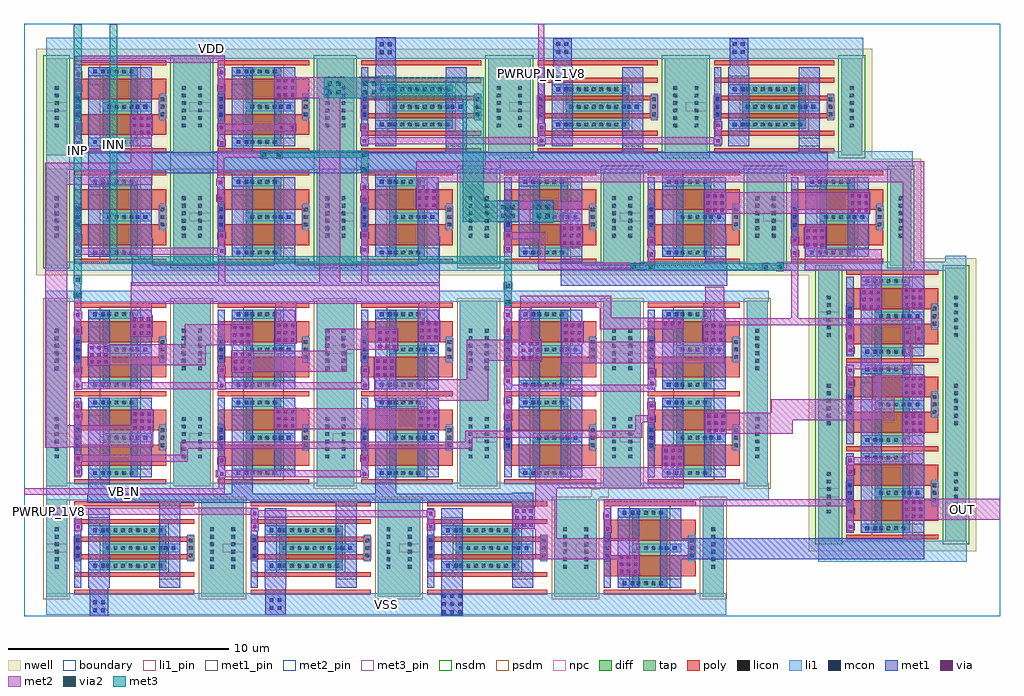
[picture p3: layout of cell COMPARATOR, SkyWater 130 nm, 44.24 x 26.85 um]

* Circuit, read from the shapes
.subckt COMPARATOR INN INP OUT PWRUP_1V8 PWRUP_N_1V8 VB_N VDD VSS
XM1 JNWATR_NCH_8C1F2_18/D PWRUP_1V8 VSS VSS sky130_fd_pr__nfet_01v8 w=2.88 l=0.22 m=6
XM2 JNWATR_NCH_4C5F0_7/D JNWATR_NCH_4C5F0_7/D JNWATR_NCH_8C1F2_18/D VSS sky130_fd_pr__nfet_01v8 w=1.6 l=0.94 m=2
XM3 JNWATR_NCH_4C5F0_22/D INP JNWATR_NCH_4C5F0_3/D VSS sky130_fd_pr__nfet_01v8 w=1.6 l=0.94 m=6
XM4 JNWATR_NCH_4C5F0_3/D VB_N JNWATR_NCH_8C1F2_18/D VSS sky130_fd_pr__nfet_01v8 w=1.6 l=0.94 m=4
XM5 JNWATR_NCH_4C5F0_15/D INN JNWATR_NCH_4C5F0_3/D VSS sky130_fd_pr__nfet_01v8 w=1.6 l=0.94 m=6
XM6 OUT JNWATR_NCH_4C5F0_20/D JNWATR_NCH_8C1F2_18/D VSS sky130_fd_pr__nfet_01v8 w=1.6 l=0.94 m=2
XM7 JNWATR_NCH_4C5F0_20/D JNWATR_NCH_4C5F0_7/D JNWATR_NCH_8C1F2_18/D VSS sky130_fd_pr__nfet_01v8 w=1.6 l=0.94 m=2
XM8 JNWATR_NCH_4C5F0_15/D JNWATR_NCH_4C5F0_22/D JNWATR_PCH_8C1F2_10/D VDD sky130_fd_pr__pfet_01v8 w=1.6 l=0.94 m=6
XM9 JNWATR_NCH_4C5F0_7/D JNWATR_NCH_4C5F0_22/D JNWATR_PCH_8C1F2_10/D VDD sky130_fd_pr__pfet_01v8 w=1.6 l=0.94 m=2
XM10 JNWATR_NCH_4C5F0_22/D JNWATR_NCH_4C5F0_22/D JNWATR_PCH_8C1F2_10/D VDD sky130_fd_pr__pfet_01v8 w=1.6 l=0.94 m=2
XM11 JNWATR_PCH_8C1F2_10/D PWRUP_N_1V8 VDD VDD sky130_fd_pr__pfet_01v8 w=2.88 l=0.22 m=6
XM12 JNWATR_NCH_4C5F0_22/D JNWATR_NCH_4C5F0_15/D JNWATR_PCH_8C1F2_10/D VDD sky130_fd_pr__pfet_01v8 w=1.6 l=0.94 m=6
XM13 OUT JNWATR_NCH_4C5F0_20/D JNWATR_PCH_8C1F2_10/D VDD sky130_fd_pr__pfet_01v8 w=1.6 l=0.94 m=2
XM14 JNWATR_NCH_4C5F0_20/D JNWATR_NCH_4C5F0_15/D JNWATR_PCH_8C1F2_10/D VDD sky130_fd_pr__pfet_01v8 w=1.6 l=0.94 m=2
XM15 JNWATR_NCH_4C5F0_15/D JNWATR_NCH_4C5F0_15/D JNWATR_PCH_8C1F2_10/D VDD sky130_fd_pr__pfet_01v8 w=1.6 l=0.94 m=2
.ends

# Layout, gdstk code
import gdstk
lib = gdstk.Library(unit=1e-6, precision=1e-09)
def R(c, l, rs):  # rectangles x0, y0, x1, y1
    for r in rs: c.add(gdstk.rectangle(r[:2], r[2:], *l))
def A(c, l, x, y, w, h, nx, ny, dx, dy):  # array of equal rectangles
    R(c, l, [(x+i*dx, y+j*dy, x+i*dx+w, y+j*dy+h) for i in range(nx) for j in range(ny)])
nwell = (64, 20)
diff = (65, 20)
tap = (65, 44)
poly = (66, 20)
licon = (66, 44)
li1_pin = (67, 16)
li1 = (67, 20)
mcon = (67, 44)
met1_pin = (68, 16)
met1 = (68, 20)
via = (68, 44)
met2_pin = (69, 16)
met2 = (69, 20)
via2 = (69, 44)
met3_pin = (70, 16)
met3 = (70, 20)
nsdm = (93, 44)
psdm = (94, 20)
npc = (95, 20)
boundary = (235, 4)

jnwatr_pch_4c5f0 = lib.new_cell('JNWATR_PCH_4C5F0')
R(jnwatr_pch_4c5f0, nwell, [(-0.92,-0.64,6.68,4.64)])
R(jnwatr_pch_4c5f0, diff, [(2.08,0.2,3.68,3.8)])
R(jnwatr_pch_4c5f0, tap, [(-0.48,-0.2,0.48,4.2), (5.28,-0.2,6.24,4.2)])
R(jnwatr_pch_4c5f0, poly, [(0.8,-0.11,4.96,0.11), (0.8,0.73,4.96,1.67), (0.8,1.67,1.12,2.33), (4.64,1.67,4.96,2.33), (0.8,2.33,4.96,3.27), (0.8,3.89,4.96,4.11)])
A(jnwatr_pch_4c5f0, licon, 2.285, 0.315, 0.17, 0.17, 4, 3, 0.34, 1.6)
A(jnwatr_pch_4c5f0, licon, -0.085, 1.065, 0.17, 0.17, 1, 6, 0, 0.34)
A(jnwatr_pch_4c5f0, licon, 5.675, 1.065, 0.17, 0.17, 1, 6, 0, 0.34)
A(jnwatr_pch_4c5f0, licon, 0.87, 1.575, 0.17, 0.17, 1, 3, 0, 0.34)
A(jnwatr_pch_4c5f0, licon, 4.71, 1.575, 0.17, 0.17, 1, 3, 0, 0.34)
R(jnwatr_pch_4c5f0, li1_pin, [(-0.48,1.8,0.48,2.2)])
R(jnwatr_pch_4c5f0, li1, [(-0.48,-0.2,0.48,4.2), (5.28,-0.2,6.24,4.2), (1.44,0.2,3.68,0.6), (0.8,1.4,1.12,2.6), (4.64,1.4,4.96,2.6), (2.08,1.8,4.32,2.2), (1.44,3.4,3.68,3.8)])
A(jnwatr_pch_4c5f0, mcon, 0.87, 1.555, 0.17, 0.17, 1, 3, 0, 0.36)
R(jnwatr_pch_4c5f0, mcon, [(1.655,0.315,1.825,0.485), (2.015,0.315,2.185,0.485), (3.575,1.915,3.745,2.085), (3.935,1.915,4.105,2.085), (1.655,3.515,1.825,3.685), (2.015,3.515,2.185,3.685)])
R(jnwatr_pch_4c5f0, met1_pin, [(3.36,0.2,4.32,0.6), (0.8,1.8,1.12,2.2), (1.44,3,2.4,3.4)])
R(jnwatr_pch_4c5f0, met1, [(0.8,0.2,1.12,3.8), (1.44,0.2,2.4,3.8), (3.36,0.2,4.32,3.8)])
R(jnwatr_pch_4c5f0, nsdm, [(-0.605,-0.325,0.605,4.325), (5.155,-0.325,6.365,4.325)])
R(jnwatr_pch_4c5f0, psdm, [(1.955,0.075,3.805,3.925)])
R(jnwatr_pch_4c5f0, npc, [(0.77,1.475,1.14,2.525), (4.61,1.475,4.98,2.525)])
R(jnwatr_pch_4c5f0, boundary, [(0,0,5.76,4)])
jnwatr_pch_4c5f0.add(gdstk.Label('B', (0,2), layer=67, texttype=5))
jnwatr_pch_4c5f0.add(gdstk.Label('G', (0.96,2), layer=68, texttype=5))
jnwatr_pch_4c5f0.add(gdstk.Label('S', (1.92,3.2), layer=68, texttype=5))
jnwatr_pch_4c5f0.add(gdstk.Label('D', (3.84,0.4), layer=68, texttype=5))

jnwatr_nch_4c5f0 = lib.new_cell('JNWATR_NCH_4C5F0')
R(jnwatr_nch_4c5f0, diff, [(2.08,0.2,3.68,3.8)])
R(jnwatr_nch_4c5f0, tap, [(-0.48,-0.2,0.48,4.2), (5.28,-0.2,6.24,4.2)])
R(jnwatr_nch_4c5f0, poly, [(0.8,-0.11,4.96,0.11), (0.8,0.73,4.96,1.67), (0.8,1.67,1.12,2.33), (4.64,1.67,4.96,2.33), (0.8,2.33,4.96,3.27), (0.8,3.89,4.96,4.11)])
A(jnwatr_nch_4c5f0, licon, 2.285, 0.315, 0.17, 0.17, 4, 3, 0.34, 1.6)
A(jnwatr_nch_4c5f0, licon, -0.085, 1.065, 0.17, 0.17, 1, 6, 0, 0.34)
A(jnwatr_nch_4c5f0, licon, 5.675, 1.065, 0.17, 0.17, 1, 6, 0, 0.34)
A(jnwatr_nch_4c5f0, licon, 0.87, 1.575, 0.17, 0.17, 1, 3, 0, 0.34)
A(jnwatr_nch_4c5f0, licon, 4.71, 1.575, 0.17, 0.17, 1, 3, 0, 0.34)
R(jnwatr_nch_4c5f0, li1_pin, [(-0.48,1.8,0.48,2.2)])
R(jnwatr_nch_4c5f0, li1, [(-0.48,-0.2,0.48,4.2), (5.28,-0.2,6.24,4.2), (1.44,0.2,3.68,0.6), (0.8,1.4,1.12,2.6), (4.64,1.4,4.96,2.6), (2.08,1.8,4.32,2.2), (1.44,3.4,3.68,3.8)])
A(jnwatr_nch_4c5f0, mcon, 0.87, 1.555, 0.17, 0.17, 1, 3, 0, 0.36)
R(jnwatr_nch_4c5f0, mcon, [(1.655,0.315,1.825,0.485), (2.015,0.315,2.185,0.485), (3.575,1.915,3.745,2.085), (3.935,1.915,4.105,2.085), (1.655,3.515,1.825,3.685), (2.015,3.515,2.185,3.685)])
R(jnwatr_nch_4c5f0, met1_pin, [(3.36,0.2,4.32,0.6), (0.8,1.8,1.12,2.2), (1.44,3,2.4,3.4)])
R(jnwatr_nch_4c5f0, met1, [(0.8,0.2,1.12,3.8), (1.44,0.2,2.4,3.8), (3.36,0.2,4.32,3.8)])
R(jnwatr_nch_4c5f0, nsdm, [(1.955,0.075,3.805,3.925)])
R(jnwatr_nch_4c5f0, psdm, [(-0.605,-0.325,0.605,4.325), (5.155,-0.325,6.365,4.325)])
R(jnwatr_nch_4c5f0, npc, [(0.77,1.475,1.14,2.525), (4.61,1.475,4.98,2.525)])
R(jnwatr_nch_4c5f0, boundary, [(0,0,5.76,4)])
jnwatr_nch_4c5f0.add(gdstk.Label('B', (0,2), layer=67, texttype=5))
jnwatr_nch_4c5f0.add(gdstk.Label('G', (0.96,2), layer=68, texttype=5))
jnwatr_nch_4c5f0.add(gdstk.Label('S', (1.92,3.2), layer=68, texttype=5))
jnwatr_nch_4c5f0.add(gdstk.Label('D', (3.84,0.4), layer=68, texttype=5))

jnwatr_pch_8c1f2 = lib.new_cell('JNWATR_PCH_8C1F2')
R(jnwatr_pch_8c1f2, nwell, [(-0.92,-0.64,7.96,4.64)])
R(jnwatr_pch_8c1f2, diff, [(2.08,1,4.96,3)])
R(jnwatr_pch_8c1f2, tap, [(-0.48,-0.2,0.48,4.2), (6.56,-0.2,7.52,4.2)])
A(jnwatr_pch_8c1f2, poly, 0.8, -0.11, 5.44, 0.22, 1, 6, 0, 0.8)
R(jnwatr_pch_8c1f2, poly, [(0.8,1.4,1.12,1.49), (5.92,1.4,6.24,1.49), (0.8,1.71,1.12,2.29), (5.92,1.71,6.24,2.29), (0.8,2.51,1.12,2.6), (5.92,2.51,6.24,2.6)])
A(jnwatr_pch_8c1f2, licon, -0.085, 1.065, 0.17, 0.17, 1, 6, 0, 0.34)
A(jnwatr_pch_8c1f2, licon, 6.955, 1.065, 0.17, 0.17, 1, 6, 0, 0.34)
A(jnwatr_pch_8c1f2, licon, 2.245, 1.115, 0.17, 0.17, 8, 3, 0.34, 0.8)
A(jnwatr_pch_8c1f2, licon, 0.87, 1.575, 0.17, 0.17, 1, 3, 0, 0.34)
A(jnwatr_pch_8c1f2, licon, 5.99, 1.575, 0.17, 0.17, 1, 3, 0, 0.34)
R(jnwatr_pch_8c1f2, li1_pin, [(-0.48,1.8,0.48,2.2)])
R(jnwatr_pch_8c1f2, li1, [(-0.48,-0.2,0.48,4.2), (6.56,-0.2,7.52,4.2), (1.44,1,4.96,1.4), (0.8,1.4,1.12,2.6), (5.92,1.4,6.24,2.6), (2.08,1.8,5.6,2.2), (1.44,2.6,4.96,3)])
A(jnwatr_pch_8c1f2, mcon, 0.87, 1.555, 0.17, 0.17, 1, 3, 0, 0.36)
R(jnwatr_pch_8c1f2, mcon, [(1.655,1.115,1.825,1.285), (2.015,1.115,2.185,1.285), (4.855,1.915,5.025,2.085), (5.215,1.915,5.385,2.085), (1.655,2.715,1.825,2.885), (2.015,2.715,2.185,2.885)])
R(jnwatr_pch_8c1f2, met1_pin, [(4.64,0.2,5.6,0.6), (0.8,1.8,1.12,2.2), (1.44,3,2.4,3.4)])
R(jnwatr_pch_8c1f2, met1, [(0.8,0.2,1.12,3.8), (1.44,0.2,2.4,3.8), (4.64,0.2,5.6,3.8)])
R(jnwatr_pch_8c1f2, nsdm, [(-0.605,-0.325,0.605,4.325), (6.435,-0.325,7.645,4.325)])
R(jnwatr_pch_8c1f2, psdm, [(1.955,0.875,5.085,3.125)])
R(jnwatr_pch_8c1f2, npc, [(0.77,1.475,1.14,2.525), (5.89,1.475,6.26,2.525)])
R(jnwatr_pch_8c1f2, boundary, [(0,0,7.04,4)])
jnwatr_pch_8c1f2.add(gdstk.Label('B', (0,2), layer=67, texttype=5))
jnwatr_pch_8c1f2.add(gdstk.Label('G', (0.96,2), layer=68, texttype=5))
jnwatr_pch_8c1f2.add(gdstk.Label('S', (1.92,3.2), layer=68, texttype=5))
jnwatr_pch_8c1f2.add(gdstk.Label('D', (5.12,0.4), layer=68, texttype=5))

jnwatr_nch_8c1f2 = lib.new_cell('JNWATR_NCH_8C1F2')
R(jnwatr_nch_8c1f2, diff, [(2.08,1,4.96,3)])
R(jnwatr_nch_8c1f2, tap, [(-0.48,-0.2,0.48,4.2), (6.56,-0.2,7.52,4.2)])
A(jnwatr_nch_8c1f2, poly, 0.8, -0.11, 5.44, 0.22, 1, 6, 0, 0.8)
R(jnwatr_nch_8c1f2, poly, [(0.8,1.4,1.12,1.49), (5.92,1.4,6.24,1.49), (0.8,1.71,1.12,2.29), (5.92,1.71,6.24,2.29), (0.8,2.51,1.12,2.6), (5.92,2.51,6.24,2.6)])
A(jnwatr_nch_8c1f2, licon, -0.085, 1.065, 0.17, 0.17, 1, 6, 0, 0.34)
A(jnwatr_nch_8c1f2, licon, 6.955, 1.065, 0.17, 0.17, 1, 6, 0, 0.34)
A(jnwatr_nch_8c1f2, licon, 2.245, 1.115, 0.17, 0.17, 8, 3, 0.34, 0.8)
A(jnwatr_nch_8c1f2, licon, 0.87, 1.575, 0.17, 0.17, 1, 3, 0, 0.34)
A(jnwatr_nch_8c1f2, licon, 5.99, 1.575, 0.17, 0.17, 1, 3, 0, 0.34)
R(jnwatr_nch_8c1f2, li1_pin, [(-0.48,1.8,0.48,2.2)])
R(jnwatr_nch_8c1f2, li1, [(-0.48,-0.2,0.48,4.2), (6.56,-0.2,7.52,4.2), (1.44,1,4.96,1.4), (0.8,1.4,1.12,2.6), (5.92,1.4,6.24,2.6), (2.08,1.8,5.6,2.2), (1.44,2.6,4.96,3)])
A(jnwatr_nch_8c1f2, mcon, 0.87, 1.555, 0.17, 0.17, 1, 3, 0, 0.36)
R(jnwatr_nch_8c1f2, mcon, [(1.655,1.115,1.825,1.285), (2.015,1.115,2.185,1.285), (4.855,1.915,5.025,2.085), (5.215,1.915,5.385,2.085), (1.655,2.715,1.825,2.885), (2.015,2.715,2.185,2.885)])
R(jnwatr_nch_8c1f2, met1_pin, [(4.64,0.2,5.6,0.6), (0.8,1.8,1.12,2.2), (1.44,3,2.4,3.4)])
R(jnwatr_nch_8c1f2, met1, [(0.8,0.2,1.12,3.8), (1.44,0.2,2.4,3.8), (4.64,0.2,5.6,3.8)])
R(jnwatr_nch_8c1f2, nsdm, [(1.955,0.875,5.085,3.125)])
R(jnwatr_nch_8c1f2, psdm, [(-0.605,-0.325,0.605,4.325), (6.435,-0.325,7.645,4.325)])
R(jnwatr_nch_8c1f2, npc, [(0.77,1.475,1.14,2.525), (5.89,1.475,6.26,2.525)])
R(jnwatr_nch_8c1f2, boundary, [(0,0,7.04,4)])
jnwatr_nch_8c1f2.add(gdstk.Label('B', (0,2), layer=67, texttype=5))
jnwatr_nch_8c1f2.add(gdstk.Label('G', (0.96,2), layer=68, texttype=5))
jnwatr_nch_8c1f2.add(gdstk.Label('S', (1.92,3.2), layer=68, texttype=5))
jnwatr_nch_8c1f2.add(gdstk.Label('D', (5.12,0.4), layer=68, texttype=5))

comparator = lib.new_cell('COMPARATOR')
R(comparator, li1_pin, [(27.94,57.12,58.78,58.08), (27.94,82.32,42.915,83.28)])
R(comparator, li1, [(29.95,57.11,30.73,57.12), (27.94,57.12,58.78,58.08), (27.94,58.08,28.9,58.9), (62.94,59.52,69.68,60.48), (62.94,60.48,63.9,61.4), (27.94,61.38,28.9,62.305), (27.94,62.305,60.695,63.1), (27.94,63.1,28.9,63.28), (59.7,70.14,60.66,71.3), (27.9,71.3,60.7,71.8), (68.7,71.88,69.66,72.7), (27.9,72.7,69.66,73.105), (68.7,73.105,69.66,73.38), (27.94,76.38,28.9,77.285), (27.94,77.285,67.215,78.12), (27.94,78.12,28.9,78.18), (27.94,81.38,28.9,82.32), (27.94,82.32,64.98,83.28)])
A(comparator, mcon, 45.895, 57.155, 0.17, 0.17, 3, 3, 0.36, 0.36)
R(comparator, mcon, [(30.075,57.235,30.245,57.405), (30.435,57.235,30.605,57.405), (38.075,57.335,38.245,57.505), (38.435,57.335,38.605,57.505), (30.075,57.595,30.245,57.765), (30.435,57.595,30.605,57.765), (38.075,57.695,38.245,57.865), (38.435,57.695,38.605,57.865), (43.075,82.53,43.245,82.7), (43.435,82.53,43.605,82.7), (51.075,82.535,51.245,82.705), (51.435,82.535,51.605,82.705), (59.075,82.535,59.245,82.705), (59.435,82.535,59.605,82.705), (43.075,82.89,43.245,83.06), (43.435,82.89,43.605,83.06), (51.075,82.895,51.245,83.065), (51.435,82.895,51.605,83.065), (59.075,82.895,59.245,83.065), (59.435,82.895,59.605,83.065)])
A(comparator, met1, 35.74, 67.31, 0.32, 0.03, 1, 4, 0, 0.35)
R(comparator, met1, [(29.92,57.05,30.76,59.18), (45.86,57.09,46.82,60.46), (37.88,57.11,38.8,59.22), (53.86,58.89,54.82,59.91), (56.42,59.62,67.74,60.58), (41.06,60.3,42.02,62.2), (49.06,60.3,50.02,60.99), (66.78,60.58,67.74,61.42), (53.21,60.84,53.59,61.16), (37.24,60.91,37.56,60.94), (45.22,60.91,45.54,61.29), (33.34,60.92,33.74,60.98), (29.21,60.94,29.59,61.26), (37.21,60.94,37.59,61.26), (64.21,60.94,64.59,61.26), (33.06,60.98,34.02,62.2), (49.06,60.99,50.08,62.01), (37.24,61.26,37.56,61.29), (53.22,61.41,53.54,61.79), (66.75,61.42,67.77,62.38), (37.24,61.51,37.56,61.54), (45.22,61.51,45.54,61.54), (37.21,61.54,37.59,61.86), (45.19,61.54,45.57,61.86), (29.24,61.61,29.56,61.64), (29.21,61.64,29.59,61.96), (64.21,61.64,64.59,61.96), (37.24,61.86,37.56,61.89), (45.22,61.86,45.54,61.89), (29.24,61.96,29.56,61.99), (49.06,62.01,50.02,62.2), (29.8,62.2,50.02,62.6), (29.86,62.6,30.82,64.66), (36.36,62.6,37.32,64.78), (42.86,62.6,43.82,64.88), (49.06,62.6,50.02,62.64), (64.86,63.12,65.82,70.16), (35.74,63.31,36.06,63.34), (42.22,63.31,42.54,63.34), (35.71,63.34,36.09,63.66), (42.19,63.34,42.57,63.66), (29.21,63.44,29.59,63.76), (64.21,63.44,64.59,63.76), (35.74,63.66,36.06,63.69), (42.22,63.66,42.54,63.69), (55.85,63.76,56.87,64.72), (35.71,63.94,36.09,64.26), (64.19,63.94,64.57,64.26), (29.24,64.01,29.56,64.04), (42.22,64.01,42.54,64.39), (29.21,64.04,29.59,64.36), (29.24,64.36,29.56,64.39), (49.36,65.12,50.32,68.28), (57.82,65.29,58.78,66.31), (66.78,65.29,67.74,66.31), (31.775,65.405,32.82,66.39), (38.32,65.49,39.28,66.51), (44.78,65.49,45.74,66.51), (55.19,65.84,55.57,66.16), (29.22,65.91,29.54,65.94), (51.28,65.92,52.24,68.78), (29.19,65.94,29.57,66.26), (48.69,65.94,49.07,66.26), (29.22,66.26,29.54,66.29), (29.22,66.41,29.54,66.79), (55.22,66.41,55.54,66.79), (48.72,66.59,49.04,66.97), (66.75,67.02,67.77,67.98), (29.22,67.31,29.54,67.34), (42.24,67.31,42.56,67.69), (29.19,67.34,29.57,67.66), (35.71,67.34,36.09,67.66), (55.24,67.41,55.56,67.44), (55.21,67.44,55.59,67.76), (64.21,67.44,64.59,67.76), (48.72,67.51,49.04,67.54), (48.69,67.54,49.07,67.86), (29.22,67.66,29.54,67.69), (55.24,67.76,55.56,67.79), (42.79,67.82,43.81,68.78), (48.72,67.86,49.04,67.89), (55.21,67.94,55.59,68.26), (29.22,68.01,29.54,68.39), (48.72,68.01,49.04,68.04), (64.22,68.01,64.54,68.39), (35.71,68.04,36.09,68.36), (42.21,68.04,42.59,68.36), (48.69,68.04,49.07,68.36), (36.33,68.12,37.35,69.08), (48.72,68.36,49.04,68.39), (29.83,68.42,30.85,69.38), (49.42,68.59,50.38,69.61), (64.21,68.94,64.59,69.26), (42.92,69.09,43.88,70.11), (36.32,69.29,37.28,70.31), (66.81,69.34,67.19,69.66), (38.29,69.42,39.31,70.38), (51.29,69.42,52.31,70.38), (57.69,69.42,58.71,70.38), (67.31,69.44,67.69,69.76), (64.22,69.51,64.54,69.89), (44.79,69.52,45.81,70.48), (31.78,69.69,32.74,70.71), (66.81,69.74,67.19,70.06), (67.34,69.76,67.66,69.94), (29.22,69.81,29.54,70.19), (48.72,69.81,49.04,70.19), (67.31,69.94,67.69,70.26), (55.86,70.02,56.82,70.61), (29.22,70.51,29.54,70.54), (48.72,70.51,49.04,70.54), (29.19,70.54,29.57,70.86), (48.69,70.54,49.07,70.86), (29.22,70.86,29.54,70.89), (48.72,70.86,49.04,70.89), (64.86,70.89,65.82,71.91), (66.78,70.99,67.74,72.01), (31.82,72.02,45.78,72.98), (51.28,72.02,58.81,72.98), (31.82,72.98,32.78,74.18), (38.28,72.98,39.24,74.68), (44.82,72.98,45.78,74.28), (51.28,72.98,52.24,73.82), (57.82,72.98,58.78,74.38), (55.18,73.31,55.56,73.63), (61.72,73.32,62.04,73.7), (29.22,73.41,29.54,74.04), (35.74,73.41,36.06,73.44), (35.71,73.44,36.09,73.76), (42.22,73.47,42.54,74.15), (48.72,73.51,49.04,73.89), (62.29,73.72,63.31,74.68), (35.74,73.76,36.06,73.79), (51.25,73.82,52.27,74.78), (55.18,73.87,55.56,74.19), (61.72,73.9,62.04,74.28), (29.19,74.04,29.57,74.36), (48.72,74.11,49.04,74.14), (35.71,74.14,36.09,74.46), (48.69,74.14,49.07,74.46), (42.19,74.15,42.57,74.47), (29.22,74.36,29.54,74.39), (48.72,74.46,49.04,74.49), (42.22,74.47,42.54,76.34), (49.36,75.12,50.32,77.12), (42.86,75.22,43.82,77.12), (64.32,75.27,65.28,76.29), (57.75,75.3,58.77,76.26), (36.36,75.32,37.32,77.12), (55.86,75.32,56.82,77.12), (62.36,75.32,63.32,77.12), (29.86,75.42,30.82,77.12), (44.69,75.52,45.71,76.48), (35.69,75.8,36.01,76.18), (42.19,76.34,42.57,76.66), (35.69,76.52,36.01,76.55), (35.66,76.55,36.04,76.87), (42.22,76.66,42.54,76.69), (35.69,76.87,36.01,76.9), (29.86,77.12,63.38,78.08), (29.86,78.08,30.82,79.68), (36.36,78.08,37.32,79.68), (46.06,78.08,47.02,79.3), (54.06,78.08,55.02,79.48), (62.06,78.08,63.02,79.36), (29.21,78.34,29.59,78.66), (35.71,78.34,36.09,78.66), (42.22,78.41,42.54,78.44), (50.24,78.41,50.56,78.44), (58.24,78.41,58.56,78.44), (42.19,78.44,42.57,78.76), (50.21,78.44,50.59,78.76), (58.21,78.44,58.59,78.76), (42.22,78.76,42.54,78.79), (50.24,78.76,50.56,79.39), (58.24,78.76,58.56,78.79), (31.78,78.79,32.74,79.81), (29.24,79.01,29.56,79.04), (38.94,79.01,39.26,79.39), (42.22,79.01,42.54,79.39), (29.21,79.04,29.59,79.36), (35.69,79.04,36.07,79.36), (38.41,79.04,38.79,79.36), (58.21,79.14,58.59,79.46), (29.24,79.36,29.56,79.39), (38.32,80.49,39.28,81.51), (29.21,80.84,29.59,81.16), (35.69,80.84,36.07,81.16), (42.885,81.065,43.8,83.285), (50.92,81.1,51.76,83.25), (58.92,81.1,59.76,83.25), (29.24,81.41,29.56,81.44), (29.21,81.44,29.59,81.76), (35.72,81.51,36.04,81.89), (29.24,81.76,29.56,81.79)])
A(comparator, via, 53.945, 59.005, 0.15, 0.15, 3, 3, 0.32, 0.32)
A(comparator, via, 49.205, 61.105, 0.15, 0.15, 3, 3, 0.32, 0.32)
A(comparator, via, 66.865, 61.505, 0.15, 0.15, 3, 3, 0.32, 0.32)
A(comparator, via, 55.965, 63.845, 0.15, 0.15, 3, 3, 0.32, 0.32)
A(comparator, via, 57.905, 65.405, 0.15, 0.15, 3, 3, 0.32, 0.32)
A(comparator, via, 66.865, 65.405, 0.15, 0.15, 3, 3, 0.32, 0.32)
A(comparator, via, 31.9, 65.5, 0.15, 0.15, 3, 3, 0.32, 0.32)
A(comparator, via, 38.405, 65.605, 0.15, 0.15, 3, 3, 0.32, 0.32)
A(comparator, via, 44.865, 65.605, 0.15, 0.15, 3, 3, 0.32, 0.32)
A(comparator, via, 66.865, 67.105, 0.15, 0.15, 3, 3, 0.32, 0.32)
A(comparator, via, 42.905, 67.905, 0.15, 0.15, 3, 3, 0.32, 0.32)
A(comparator, via, 36.445, 68.205, 0.15, 0.15, 3, 3, 0.32, 0.32)
A(comparator, via, 29.945, 68.505, 0.15, 0.15, 3, 3, 0.32, 0.32)
A(comparator, via, 49.505, 68.705, 0.15, 0.15, 3, 3, 0.32, 0.32)
A(comparator, via, 43.005, 69.205, 0.15, 0.15, 3, 3, 0.32, 0.32)
A(comparator, via, 36.405, 69.405, 0.15, 0.15, 3, 3, 0.32, 0.32)
A(comparator, via, 38.405, 69.505, 0.15, 0.15, 3, 3, 0.32, 0.32)
A(comparator, via, 51.405, 69.505, 0.15, 0.15, 3, 3, 0.32, 0.32)
A(comparator, via, 57.805, 69.505, 0.15, 0.15, 3, 3, 0.32, 0.32)
A(comparator, via, 44.905, 69.605, 0.15, 0.15, 3, 3, 0.32, 0.32)
A(comparator, via, 31.865, 69.805, 0.15, 0.15, 3, 3, 0.32, 0.32)
A(comparator, via, 55.945, 70.24, 0.15, 0.15, 3, 1, 0.32, 0)
A(comparator, via, 64.945, 71.005, 0.15, 0.15, 3, 3, 0.32, 0.32)
A(comparator, via, 66.865, 71.105, 0.15, 0.15, 3, 3, 0.32, 0.32)
A(comparator, via, 62.405, 73.805, 0.15, 0.15, 3, 3, 0.32, 0.32)
A(comparator, via, 51.365, 73.905, 0.15, 0.15, 3, 3, 0.32, 0.32)
A(comparator, via, 57.865, 75.385, 0.15, 0.15, 3, 3, 0.32, 0.32)
A(comparator, via, 64.405, 75.385, 0.15, 0.15, 3, 3, 0.32, 0.32)
A(comparator, via, 44.805, 75.605, 0.15, 0.15, 3, 3, 0.32, 0.32)
A(comparator, via, 31.865, 78.905, 0.15, 0.15, 3, 3, 0.32, 0.32)
A(comparator, via, 38.405, 80.605, 0.15, 0.15, 3, 3, 0.32, 0.32)
R(comparator, via, [(53.325,60.925,53.475,61.075), (29.325,61.025,29.475,61.175), (37.325,61.025,37.475,61.175), (45.305,61.025,45.455,61.175), (64.325,61.025,64.475,61.175), (53.305,61.525,53.455,61.675), (37.325,61.625,37.475,61.775), (45.305,61.625,45.455,61.775), (29.325,61.725,29.475,61.875), (64.325,61.725,64.475,61.875), (35.825,63.425,35.975,63.575), (42.305,63.425,42.455,63.575), (29.325,63.525,29.475,63.675), (64.325,63.525,64.475,63.675), (35.825,64.025,35.975,64.175), (64.305,64.025,64.455,64.175), (29.325,64.125,29.475,64.275), (42.305,64.125,42.455,64.275), (55.305,65.925,55.455,66.075), (29.305,66.025,29.455,66.175), (48.805,66.025,48.955,66.175), (29.305,66.525,29.455,66.675), (55.305,66.525,55.455,66.675), (48.805,66.705,48.955,66.855), (29.305,67.425,29.455,67.575), (35.825,67.425,35.975,67.575), (42.325,67.425,42.475,67.575), (55.325,67.525,55.475,67.675), (64.325,67.525,64.475,67.675), (48.805,67.625,48.955,67.775), (55.325,68.025,55.475,68.175), (29.305,68.125,29.455,68.275), (35.825,68.125,35.975,68.275), (42.325,68.125,42.475,68.275), (48.805,68.125,48.955,68.275), (64.305,68.125,64.455,68.275), (64.325,69.025,64.475,69.175), (66.925,69.425,67.075,69.575), (67.425,69.525,67.575,69.675), (64.305,69.625,64.455,69.775), (66.925,69.825,67.075,69.975), (29.305,69.925,29.455,70.075), (48.805,69.925,48.955,70.075), (67.425,70.025,67.575,70.175), (29.305,70.625,29.455,70.775), (48.805,70.625,48.955,70.775), (55.295,73.395,55.445,73.545), (61.805,73.435,61.955,73.585), (29.305,73.525,29.455,73.675), (35.825,73.525,35.975,73.675), (42.305,73.585,42.455,73.735), (48.805,73.625,48.955,73.775), (55.295,73.955,55.445,74.105), (61.805,74.015,61.955,74.165), (29.305,74.125,29.455,74.275), (35.825,74.225,35.975,74.375), (48.805,74.225,48.955,74.375), (42.305,74.235,42.455,74.385), (42.305,75.875,42.455,76.025), (35.775,75.915,35.925,76.065), (42.305,76.425,42.455,76.575), (35.775,76.635,35.925,76.785), (29.325,78.425,29.475,78.575), (35.825,78.425,35.975,78.575), (42.305,78.525,42.455,78.675), (50.325,78.525,50.475,78.675), (58.325,78.525,58.475,78.675), (29.325,79.125,29.475,79.275), (35.805,79.125,35.955,79.275), (38.525,79.125,38.675,79.275), (39.025,79.125,39.175,79.275), (42.305,79.125,42.455,79.275), (50.325,79.125,50.475,79.275), (58.325,79.225,58.475,79.375), (29.325,80.925,29.475,81.075), (35.805,80.925,35.955,81.075), (29.325,81.525,29.475,81.675), (35.805,81.625,35.955,81.775)])
R(comparator, met2_pin, [(67.74,61.42,71.18,62.38), (26.94,61.64,29.24,61.96), (26.96,62.56,36.04,62.84), (50.24,79.36,50.52,83.9)])
R(comparator, met2, [(53.83,58.92,54.85,59.62), (50.12,59.62,54.85,59.88), (50.12,59.88,54.82,60.58), (50.12,60.58,51.08,61.02), (53.24,60.81,53.56,61.44), (29.24,60.91,29.56,61.64), (37.24,60.91,37.56,60.94), (64.24,60.91,64.56,62.04), (37.21,60.94,37.59,61.26), (45.19,60.94,45.57,61.26), (49.09,61.02,51.08,61.98), (37.24,61.26,37.56,61.54), (45.22,61.26,45.54,61.54), (66.78,61.39,67.74,61.42), (66.78,61.42,71.18,62.38), (53.19,61.44,53.57,61.76), (37.21,61.54,45.57,61.64), (26.94,61.64,45.57,61.86), (53.22,61.76,53.56,62.04), (26.94,61.86,37.56,61.96), (45.22,61.86,45.54,61.89), (29.24,61.96,29.56,61.99), (50.12,61.98,51.08,62.84), (53.22,62.04,64.56,62.36), (66.78,62.38,67.74,62.41), (26.96,62.56,36.04,62.84), (35.76,62.84,36.04,63.31), (50.12,62.84,56.84,63.8), (35.74,63.31,36.06,63.34), (42.22,63.31,42.54,63.34), (35.64,63.34,42.57,63.66), (29.24,63.41,29.56,64.04), (64.24,63.41,64.56,63.91), (35.74,63.66,36.06,64.29), (42.22,63.66,42.54,64.04), (55.88,63.8,56.84,64.75), (64.22,63.91,64.56,63.94), (64.22,63.94,67.66,64.02), (64.22,64.02,67.74,64.26), (29.21,64.04,34.36,64.36), (42.19,64.04,42.57,64.36), (64.22,64.26,64.54,64.29), (66.78,64.26,67.74,65.32), (29.24,64.36,29.56,64.39), (34.04,64.36,34.36,64.64), (34.04,64.64,47.26,64.96), (27.91,64.695,28.895,64.715), (29.22,64.695,29.54,64.715), (27.91,64.715,32.79,65.7), (46.94,64.96,47.26,65.14), (46.94,65.14,54.96,65.46), (57.79,65.32,61.78,65.92), (66.75,65.32,67.77,66.28), (54.64,65.46,54.96,65.84), (38.29,65.52,45.77,66.48), (27.91,65.7,28.895,76.61), (29.22,65.7,29.54,65.94), (31.805,65.7,32.79,66.42), (55.22,65.81,55.54,65.84), (54.64,65.84,55.54,66.16), (48.72,65.91,49.04,66.62), (57.79,65.92,66.38,66.28), (29.19,65.94,29.57,66.26), (55.22,66.16,55.54,66.44), (29.22,66.26,29.54,66.44), (60.82,66.28,66.38,66.88), (29.19,66.44,29.57,66.76), (55.19,66.44,55.57,66.76), (44.78,66.48,45.74,66.82), (48.69,66.62,49.07,66.94), (42.82,66.82,47.98,67.78), (65.42,66.88,66.38,67.02), (48.72,66.94,49.04,67.22), (66.78,66.99,67.74,67.02), (65.42,67.02,67.74,67.98), (48.72,67.22,55.56,67.44), (29.22,67.31,29.54,67.34), (35.74,67.31,36.06,67.34), (29.19,67.34,42.59,67.66), (64.24,67.41,64.56,68.04), (48.72,67.44,55.59,67.54), (48.69,67.54,49.07,67.86), (55.21,67.54,55.59,67.76), (29.22,67.66,29.54,68.04), (35.74,67.66,36.06,68.04), (42.24,67.66,42.56,68.39), (55.24,67.76,55.56,68.29), (42.82,67.78,43.78,68.81), (47.02,67.78,47.98,68.62), (48.72,67.86,49.04,68.04), (66.78,67.98,67.74,68.01), (29.19,68.04,29.57,68.36), (35.71,68.04,36.09,68.36), (48.69,68.04,49.07,68.36), (64.19,68.04,64.57,68.24), (36.36,68.09,37.32,68.12), (36.36,68.12,41.58,69.08), (64.19,68.24,67.16,68.36), (35.74,68.36,36.06,68.39), (48.72,68.36,49.04,68.39), (64.22,68.36,67.16,68.56), (29.86,68.39,30.82,68.42), (29.86,68.42,35.18,69.32), (51.32,68.52,58.68,69.48), (66.84,68.56,67.16,70.09), (47.02,68.62,50.41,69.58), (64.24,68.91,64.56,69.54), (36.36,69.08,37.32,69.11), (40.62,69.08,41.58,69.12), (40.62,69.12,43.91,70.08), (29.86,69.32,37.31,69.38), (29.86,69.38,30.82,69.41), (34.22,69.38,37.31,70.28), (38.32,69.39,39.28,71.22), (67.34,69.41,67.66,70.24), (51.32,69.48,52.28,70.41), (57.72,69.48,58.68,70.24), (44.82,69.49,45.78,71.22), (64.19,69.54,64.57,69.86), (49.435,69.58,49.965,71.035), (31.75,69.72,32.77,70.68), (29.19,69.84,29.57,70.16), (48.69,69.84,49.07,70.16), (64.22,69.86,64.56,70.24), (53.035,70.05,56.85,70.58), (29.22,70.16,29.54,70.54), (48.72,70.16,49.04,70.54), (57.68,70.24,67.66,70.56), (29.19,70.54,29.57,70.86), (48.69,70.54,49.07,70.86), (57.72,70.56,58.68,71.22), (61.72,70.56,62.04,72.73), (53.035,70.58,53.565,71.035), (31.78,70.68,32.74,71.22), (29.22,70.86,29.54,72.16), (48.72,70.86,49.04,72.205), (64.83,70.92,65.85,71.88), (66.75,71.02,67.77,71.98), (49.435,71.035,53.565,71.565), (31.78,71.22,45.78,72.18), (57.82,71.22,58.68,71.99), (64.86,71.88,65.82,72.72), (66.78,71.98,67.74,76.72), (29.195,72.16,29.565,72.44), (35.74,72.18,36.06,73.44), (40.32,72.18,41.28,80.5), (42.22,72.18,42.54,73.5), (29.22,72.44,29.54,72.46), (29.235,72.46,29.53,72.495), (61.07,72.685,61.35,72.73), (54.44,72.705,54.72,72.76), (55.21,72.705,55.49,72.75), (62.32,72.72,65.82,73.68), (60.375,72.73,62.04,73.05), (55.165,72.75,55.535,72.76), (50.24,72.76,55.535,73.03), (50.24,73.03,55.53,73.08), (61.07,73.05,61.35,73.095), (61.72,73.05,62.04,73.35), (50.24,73.08,50.56,74.14), (55.21,73.08,55.53,74.22), (61.69,73.35,62.07,73.67), (29.19,73.44,36.06,73.76), (42.19,73.5,42.57,73.82), (48.69,73.54,49.07,73.86), (61.72,73.67,62.04,73.93), (62.32,73.68,63.28,74.71), (29.22,73.76,29.54,74.04), (35.74,73.76,36.06,74.49), (51.28,73.79,52.24,74.92), (42.22,73.82,42.54,74.5), (48.72,73.86,49.04,74.14), (61.69,73.93,62.07,74.25), (29.19,74.04,29.57,74.36), (48.69,74.14,50.56,74.46), (29.22,74.36,29.54,74.39), (48.72,74.46,49.04,74.49), (50.02,74.875,50.93,74.92), (48.375,74.92,52.24,75.88), (57.78,75.27,58.74,75.3), (57.78,75.3,65.31,76.26), (44.72,75.49,45.68,76.72), (42.19,75.79,42.57,76.11), (35.66,75.83,36.04,76.15), (50.02,75.88,50.93,75.925), (42.22,76.11,42.54,76.34), (35.69,76.15,36.01,76.55), (57.78,76.26,58.74,76.29), (42.19,76.34,42.57,76.66), (35.66,76.55,36.04,76.87), (27.91,76.61,32.755,77.595), (42.22,76.66,42.54,78.155), (44.72,76.72,67.74,77.68), (35.69,76.87,36.01,77.82), (31.77,77.595,32.755,78.295), (37.68,77.795,37.96,77.82), (38.36,77.795,38.64,77.82), (35.69,77.82,38.66,78.14), (37.68,78.14,37.96,78.165), (38.36,78.14,38.64,78.165), (31.78,78.295,32.74,78.82), (29.24,78.31,29.56,79.04), (35.74,78.31,36.06,79.01), (42.22,78.41,42.54,78.44), (50.24,78.41,50.56,78.44), (58.24,78.41,58.56,78.44), (42.19,78.44,58.59,78.76), (42.22,78.76,42.54,79.04), (50.24,78.76,50.56,79.04), (58.24,78.76,58.56,79.49), (31.75,78.82,32.77,79.78), (35.72,79.01,36.06,79.04), (38.44,79.01,38.76,79.04), (29.21,79.04,29.56,79.36), (35.72,79.04,39.29,79.36), (42.19,79.04,42.57,79.36), (50.21,79.04,50.59,79.36), (29.24,79.36,29.56,79.39), (35.72,79.36,36.04,79.39), (38.44,79.36,38.76,79.39), (50.24,79.36,50.52,83.9), (40.32,80.5,41.455,80.52), (42.145,80.5,43.055,80.52), (38.29,80.52,43.08,80.545), (38.29,80.545,43.1,81.455), (29.24,80.81,29.56,81.44), (35.72,80.81,36.04,81.54), (29.21,81.44,29.59,81.76), (38.29,81.455,43.08,81.48), (40.545,81.48,41.455,81.5), (42.145,81.48,43.055,81.5), (35.69,81.54,36.07,81.86), (29.24,81.76,29.56,82.14), (35.72,81.86,36.04,82.14), (29.24,82.14,36.04,82.46)])
R(comparator, via2, [(48.78,71.2,48.98,71.4), (29.28,71.52,29.48,71.72), (48.78,71.92,48.98,72.12), (29.28,72.2,29.48,72.4), (54.48,72.79,54.68,72.99), (55.25,72.79,55.45,72.99), (60.46,72.79,60.66,72.99), (61.11,72.79,61.31,72.99), (48.575,75.1,48.775,75.3), (48.975,75.1,49.175,75.3), (50.175,75.1,50.375,75.3), (50.575,75.1,50.775,75.3), (48.575,75.5,48.775,75.7), (48.975,75.5,49.175,75.7), (50.175,75.5,50.375,75.7), (50.575,75.5,50.775,75.7), (42.28,77.2,42.48,77.4), (42.28,77.87,42.48,78.07), (37.72,77.88,37.92,78.08), (38.4,77.88,38.6,78.08), (40.7,80.7,40.9,80.9), (41.1,80.7,41.3,80.9), (42.3,80.7,42.5,80.9), (42.7,80.7,42.9,80.9), (40.7,81.1,40.9,81.3), (41.1,81.1,41.3,81.3), (42.3,81.1,42.5,81.3), (42.7,81.1,42.9,81.3)])
R(comparator, met3_pin, [(29.205,72.45,29.56,83.875), (30.83,73.03,31.17,83.87)])
R(comparator, met3, [(48.71,71.13,49.05,71.855), (29.195,71.455,29.565,71.785), (29.215,71.785,29.545,72.125), (48.695,71.855,49.065,72.185), (29.205,72.125,29.56,83.875), (48.71,72.185,49.05,73.03), (60.395,72.705,60.725,72.73), (61.045,72.705,61.375,72.73), (54.415,72.725,54.745,72.73), (55.185,72.725,55.515,72.73), (54.415,72.73,61.375,73.05), (30.83,73.03,49.05,73.37), (54.415,73.05,54.745,73.055), (55.185,73.05,55.515,73.055), (60.395,73.05,60.725,73.075), (61.045,73.05,61.375,73.075), (30.83,73.37,31.17,83.87), (48.395,74.895,49.355,74.92), (49.995,74.895,50.955,75.905), (46.82,74.92,49.355,75.88), (46.82,75.88,47.78,80.52), (48.395,75.88,49.355,75.905), (42.195,77.135,42.565,77.465), (42.22,77.465,42.54,77.805), (42.195,77.805,42.565,77.82), (37.655,77.815,37.985,77.82), (38.335,77.815,38.665,77.82), (37.655,77.82,42.565,78.135), (37.655,78.135,42.54,78.14), (37.655,78.14,37.985,78.145), (38.335,78.14,38.665,78.145), (40.52,80.52,47.78,81.48)])
A(comparator, nsdm, 30.375, 67.065, 1.85, 0.15, 5, 1, 6.5, 0)
R(comparator, nsdm, [(27.815,77.465,29.025,77.815), (33.575,77.465,35.525,77.815), (40.075,77.465,42.025,77.815), (47.855,77.465,48.525,77.815)])
R(comparator, psdm, [(53.025,62.45,53.455,62.465), (27.815,62.465,29.025,62.815), (34.855,62.465,35.525,62.815), (52.645,62.465,53.455,62.815), (52.645,62.815,53.075,62.83), (65.375,64.565,67.225,64.715), (65.375,68.565,67.225,68.715)])
R(comparator, boundary, [(26.94,57.05,71.18,83.9)])
comparator.add(gdstk.Reference(jnwatr_pch_4c5f0, (28.42,78.14)))
comparator.add(gdstk.Reference(jnwatr_pch_4c5f0, (41.42,73.14)))
comparator.add(gdstk.Reference(jnwatr_pch_4c5f0, (34.92,73.14)))
comparator.add(gdstk.Reference(jnwatr_nch_4c5f0, (41.42,63.14)))
comparator.add(gdstk.Reference(jnwatr_pch_4c5f0, (28.42,73.14)))
comparator.add(gdstk.Reference(jnwatr_nch_4c5f0, (34.92,63.14)))
comparator.add(gdstk.Reference(jnwatr_pch_4c5f0, (60.92,73.14)))
comparator.add(gdstk.Reference(jnwatr_nch_4c5f0, (28.42,63.14)))
comparator.add(gdstk.Reference(jnwatr_pch_4c5f0, (54.42,73.14)))
comparator.add(gdstk.Reference(jnwatr_pch_4c5f0, (47.92,73.14)))
comparator.add(gdstk.Reference(jnwatr_pch_8c1f2, (41.42,78.14)))
comparator.add(gdstk.Reference(jnwatr_pch_8c1f2, (49.42,78.14)))
comparator.add(gdstk.Reference(jnwatr_pch_4c5f0, (34.92,78.14)))
comparator.add(gdstk.Reference(jnwatr_nch_4c5f0, (52.42,58.14)))
comparator.add(gdstk.Reference(jnwatr_pch_4c5f0, (63.42,68.64)))
comparator.add(gdstk.Reference(jnwatr_nch_4c5f0, (47.92,63.14)))
comparator.add(gdstk.Reference(jnwatr_pch_4c5f0, (63.42,64.64)))
comparator.add(gdstk.Reference(jnwatr_nch_4c5f0, (54.42,67.14)))
comparator.add(gdstk.Reference(jnwatr_nch_8c1f2, (36.42,58.14)))
comparator.add(gdstk.Reference(jnwatr_pch_4c5f0, (63.42,60.64)))
comparator.add(gdstk.Reference(jnwatr_nch_4c5f0, (54.42,63.14)))
comparator.add(gdstk.Reference(jnwatr_nch_8c1f2, (44.42,58.14)))
comparator.add(gdstk.Reference(jnwatr_nch_4c5f0, (41.42,67.14)))
comparator.add(gdstk.Reference(jnwatr_nch_4c5f0, (47.92,67.14)))
comparator.add(gdstk.Reference(jnwatr_nch_8c1f2, (28.42,58.14)))
comparator.add(gdstk.Reference(jnwatr_nch_4c5f0, (34.92,67.14)))
comparator.add(gdstk.Reference(jnwatr_pch_8c1f2, (57.42,78.14)))
comparator.add(gdstk.Reference(jnwatr_nch_4c5f0, (28.42,67.14)))
comparator.add(gdstk.Label('INN', (31,78.45), layer=70, texttype=5))
comparator.add(gdstk.Label('INP', (29.382,78.162), layer=70, texttype=5))
comparator.add(gdstk.Label('VDD', (35.427,82.8), layer=67, texttype=5))
comparator.add(gdstk.Label('VSS', (43.36,57.6), layer=67, texttype=5))
comparator.add(gdstk.Label('OUT', (69.46,61.9), layer=69, texttype=5))
comparator.add(gdstk.Label('PWRUP_1V8', (28.09,61.8), layer=69, texttype=5))
comparator.add(gdstk.Label('PWRUP_N_1V8', (50.38,81.63), layer=69, texttype=5))
comparator.add(gdstk.Label('VB_N', (31.5,62.7), layer=69, texttype=5))

lib.write_gds('COMPARATOR.gds')
